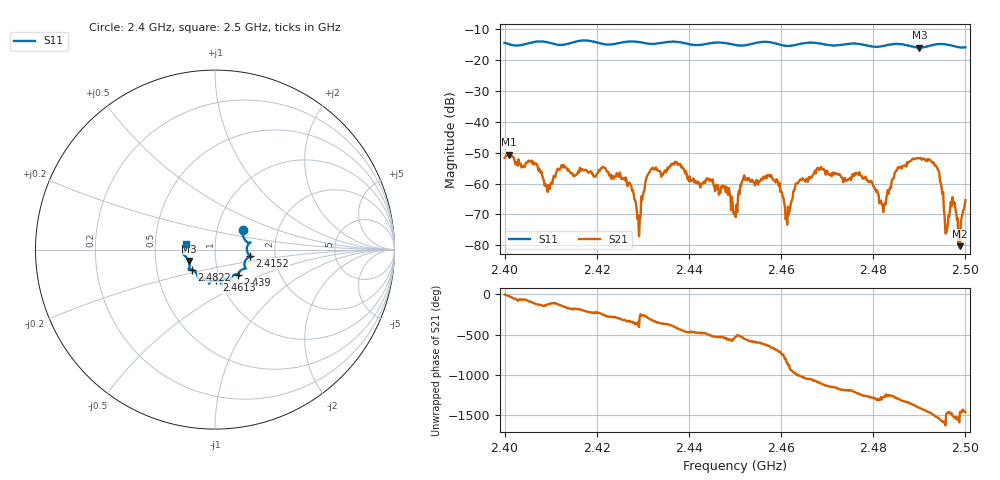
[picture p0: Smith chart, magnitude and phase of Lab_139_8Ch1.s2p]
# Hz S RI R 50
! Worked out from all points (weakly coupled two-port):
!   601 points, 2.4 GHz to 2.5 GHz, reference 50 ohm
!   highest |S21| = -50.64 dB at 2.401 GHz (marker M1); lowest = -80.3 dB at 2.4988 GHz (marker M2)
!   lowest |S11| = -15.9 dB at 2.49 GHz (marker M3), VSWR 1.38, Z = 36.9 - j4.84 ohm
!   |S11| at or under -10 dB: start of sweep to end of sweep
!   S12 and S22 are empty: the file has one direction only
!   S11 on the Smith chart (normalised r, x): 2.4 GHz: 1.33, +0.31; 2.4152 GHz: 1.48, -0.11; 2.439 GHz: 1.24, -0.36; 2.4613 GHz: 0.96, -0.34; 2.4822 GHz: 0.76, -0.17; 2.5 GHz: 0.72, +0.05
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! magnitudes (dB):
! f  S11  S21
! 2.4 GHz  -14.3  -51.6
! 2.401 GHz  -14.8  -50.6
! 2.4152 GHz  -14.1  -57.5
! 2.4167 GHz  -13.6  -55.7
! 2.426 GHz  -14.1  -58.1
! 2.429 GHz  -14.1  -70.4
! 2.4333 GHz  -14.5  -55.9
! 2.439 GHz  -14.4  -55.4
! 2.45 GHz  -15.0  -70.3
! 2.452 GHz  -15.2  -57.3
! 2.4575 GHz  -14.1  -57.2
! 2.4613 GHz  -15.4  -73.3
! 2.4667 GHz  -14.3  -58.0
! 2.4768 GHz  -14.7  -57.2
! 2.4822 GHz  -15.4  -69.2
! 2.4833 GHz  -15.0  -63.3
! 2.49 GHz  -15.9  -51.7
! 2.4937 GHz  -14.8  -54.3
! 2.4958 GHz  -14.9  -76.0
! 2.4973 GHz  -15.4  -65.6
! 2.4988 GHz  -15.8  -80.3
! 2.5 GHz  -15.8  -65.4
